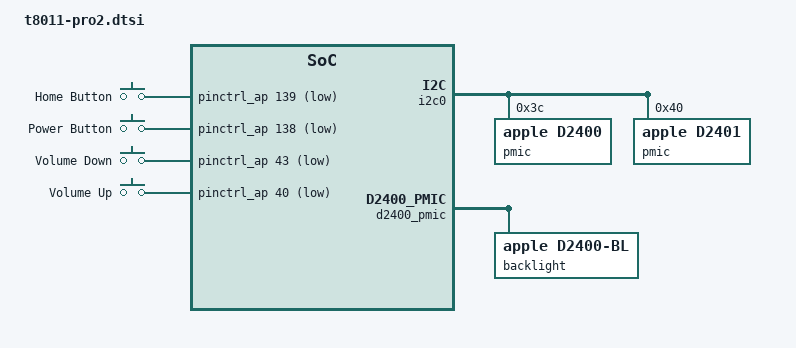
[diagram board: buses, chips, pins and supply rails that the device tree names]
// SPDX-License-Identifier: GPL-2.0+ OR MIT
/*
 * Apple iPad Pro 2 common device tree
 *
 * Copyright (c) 2022, Konrad Dybcio <konradybcio@kernel.org>
 */

#include <dt-bindings/input/input.h>

/ {
	chassis-type = "tablet";

	gpio-keys {
		compatible = "gpio-keys";

		button-home {
			label = "Home Button";
			gpios = <&pinctrl_ap 139 GPIO_ACTIVE_LOW>;
			linux,code = <KEY_HOMEPAGE>;
			wakeup-source;
		};

		button-power {
			label = "Power Button";
			gpios = <&pinctrl_ap 138 GPIO_ACTIVE_LOW>;
			linux,code = <KEY_POWER>;
			wakeup-source;
		};

		button-voldown {
			label = "Volume Down";
			gpios = <&pinctrl_ap 43 GPIO_ACTIVE_LOW>;
			linux,code = <KEY_VOLUMEDOWN>;
		};

		button-volup {
			label = "Volume Up";
			gpios = <&pinctrl_ap 40 GPIO_ACTIVE_LOW>;
			linux,code = <KEY_VOLUMEUP>;
		};
	};
};

&i2c0 {
	status = "okay";

	pmic@3c {
		compatible = "apple,d2400", "apple,i2c-dialog";
		reg = <0x3c>;
		#address-cells = <1>;
		#size-cells = <0>;

		backlight@b00 {
			compatible = "apple,d2400-bl", "apple,d2257-bl";
			reg = <0xb00>;
		};
	};

	pmic@40 {
		compatible = "apple,d2401", "apple,i2c-dialog";
		reg = <0x40>;
		#address-cells = <1>;
		#size-cells = <0>;
	};
};

&d2400_pmic {
	backlight@b00 {
		compatible = "apple,d2400-bl", "apple,d2257-bl";
		reg = <0xb00>;
	};
};

&ps_dcs6 {
	apple,always-on; /* LPDDR4 interface */
};

&ps_dcs7 {
	apple,always-on; /* LPDDR4 interface */
};
